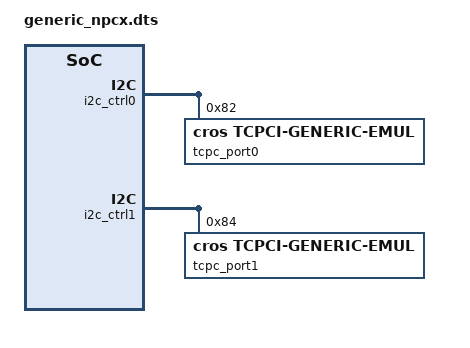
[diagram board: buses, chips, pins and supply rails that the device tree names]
/* Copyright 2023 The ChromiumOS Authors
 * Use of this source code is governed by a BSD-style license that can be
 * found in the LICENSE file.
 *
 * Device tree for a generic Nissa device based on a NPCX EC, suitable for board
 * unit tests.
 */
#include <npcx_emul.dts>
#include "../program/nissa/cbi.dtsi"

/ {
	aliases {
		/* type-C */
		gpio-usb-c1-int-odl = &gpio_sb_1;
		/* type-A */
		gpio-en-usb-a1-vbus = &gpio_sb_2;
		/* HDMI */
		gpio-en-rails-odl = &gpio_sb_1;
		gpio-hdmi-en-odl = &gpio_sb_3;
		gpio-hpd-odl = &gpio_sb_4;
		/* LTE */
		gpio-en-sub-s5-rails = &gpio_sb_2;

		gpio-wp = &gpio_ec_wp_odl;
	};

	gpio-interrupts {
		compatible = "cros-ec,gpio-interrupts";

		int_usb_c0: usb_c0 {
			irq-pin = <&gpio_usb_c0_int_odl>;
			flags = <GPIO_INT_EDGE_FALLING>;
			handler = "usb_interrupt_c0";
		};

		int_usb_c1: usb_c1 {
			irq-pin = <&gpio_sb_1>;
			flags = <GPIO_INT_EDGE_FALLING>;
			handler = "usb_interrupt_c1";
		};
	};

	named-gpios {
		compatible = "named-gpios";

		gpio_ec_soc_dsw_pwrok: ec_soc_dsw_pwrok {
			gpios = <&gpio6 1 GPIO_OUTPUT>;
		};

		gpio_ec_soc_hdmi_hpd: ec_soc_hdmi_hpd {
			gpios = <&gpioe 4 GPIO_OUTPUT>;
		};

		gpio_ec_wp_odl: ec_wp_odl {
			gpios = <&gpioa 1 (GPIO_INPUT | GPIO_ACTIVE_LOW)>;
		};

		entering_rw {
			gpios = <&gpio0 3 GPIO_OUTPUT>;
			enum-name = "GPIO_ENTERING_RW";
		};

		gpio_en_pp5000_pen_x: en_pp5000_pen_x {
			gpios = <&gpioe 2 GPIO_OUTPUT>;
		};

		gpio_en_slp_z: en_slp_z {
			gpios = <&gpioe 1 GPIO_OUTPUT>;
		};

		gpio_hdmi_sel: hdmi_sel {
			gpios = <&gpioc 6 GPIO_OUTPUT>;
		};

		gpio_usb_a0_enable: usb_a0_enable {
			gpios = <&gpio1 0 GPIO_OUTPUT>;
		};

		gpio_usb_a0_ilimit_sdp: usb_a0_ilimit_sdp {
			gpios = <&gpio1 2 GPIO_OUTPUT>;
			enum-name = "GPIO_USB1_ILIM_SEL";
		};

		gpio_sub_usb_a1_ilimit_sdp: usb_a1_ilimit_sdp {
			gpios = <&gpio1 3 GPIO_OUTPUT>;
			enum-name = "GPIO_USB2_ILIM_SEL";
		};

		gpio_usb_c0_int_odl: usb_c0_int_odl {
			gpios = <&gpio0 1 GPIO_INPUT_PULL_UP>;
		};

		gpio_sb_1: sb-1 {
			gpios = <&gpio0 2 GPIO_PULL_UP>;
			no-auto-init;
		};

		gpio_sb_2: sb-2 {
			gpios = <&gpiod 4 GPIO_OUTPUT>;
			no-auto-init;
		};

		gpio_sb_3: sb-3 {
			gpios = <&gpiof 4 0>;
			no-auto-init;
		};

		gpio_sb_4: sb-4 {
			gpios = <&gpiof 5 GPIO_INPUT>;
			no-auto-init;
		};
	};

	named-i2c-ports {
		compatible = "named-i2c-ports";
		i2c_ec_i2c_usb_c0: ec_i2c_usb_c0 {
			i2c-port = <&i2c_ctrl0>;
			enum-names = "I2C_PORT_USB_C0_TCPC";
		};
		i2c_ec_i2c_sub_usb_c1: ec_i2c_sub_usb_c1 {
			i2c-port = <&i2c_ctrl1>;
			enum-names = "I2C_PORT_USB_C1_TCPC";
		};
	};

	usba {
		compatible = "cros-ec,usba-port-enable-pins";
		enable-pins = <&gpio_usb_a0_enable &gpio_sb_2>;
		status = "okay";
	};

	usbc {
		#address-cells = <1>;
		#size-cells = <0>;
		port0@0 {
			compatible = "named-usbc-port";
			reg = <0>;
			tcpc = <&tcpc_port0>;
			usb-mux-chain-0 {
				compatible = "cros-ec,usb-mux-chain";
				usb-muxes = <&virtual_mux_0>;
			};
		};
		port1@1 {
			compatible = "named-usbc-port";
			reg = <1>;
			tcpc = <&tcpc_port1>;
			usb-mux-chain-1 {
				compatible = "cros-ec,usb-mux-chain";
				usb-muxes = <&virtual_mux_1>;
			};
			usb_mux_chain_1_no_mux: usb-mux-chain-1-alternate {
				compatible = "cros-ec,usb-mux-chain";
				alternative-chain;
				usb-muxes = <&virtual_mux_1>;
			};
		};
		port0-muxes {
			virtual_mux_0: virtual-mux-0 {
				compatible = "cros-ec,usbc-mux-virtual";
			};
		};
		port1-muxes {
			virtual_mux_1: virtual-mux-1 {
				compatible = "cros-ec,usbc-mux-virtual";
			};
		};
	};
};

&i2c_ctrl0 {
	tcpc_port0: tcpci_emul@82 {
		compatible = "cros,tcpci-generic-emul";
		status = "okay";
		reg = <0x82>;
	};
};

&i2c_ctrl1 {
	tcpc_port1: tcpci_emul@84 {
		compatible = "cros,tcpci-generic-emul";
		status = "okay";
		reg = <0x84>;
	};
};
